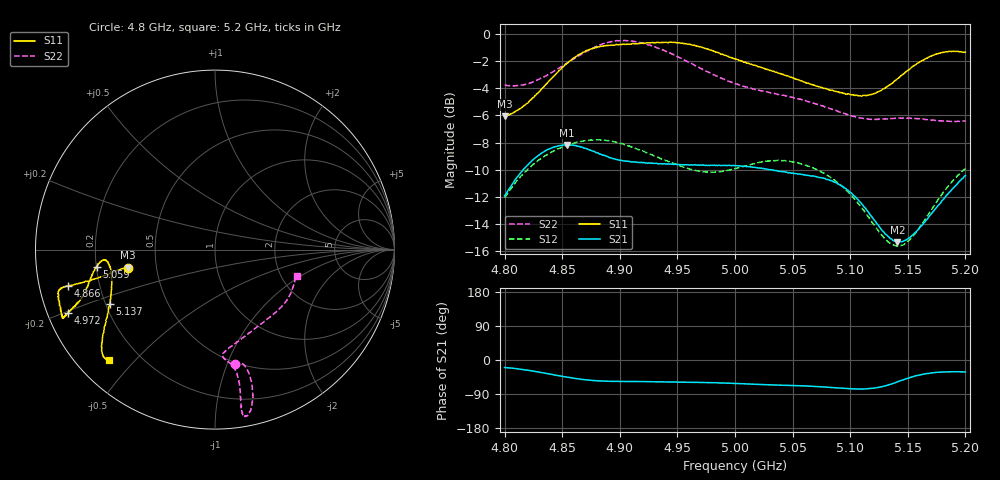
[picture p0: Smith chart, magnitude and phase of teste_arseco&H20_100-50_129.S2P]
! Network Analyzer HP8722D
! Hewlett-Packard
! Data name: Linha & Wilkinson
! Saver's name: Rodrigo Anjos
! Comments: Teste da utilização de aquisição
! continua pelo VNA HP8722D
! Time and date: 6/5/2025 13:38
!  Frequency  S11  S21  S12  S22
# HZ  S  MA R 50
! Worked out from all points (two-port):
!   401 points, 4.8 GHz to 5.2 GHz, reference 50 ohm
!   highest |S21| = -8.18 dB at 4.854 GHz (marker M1); lowest = -15.3 dB at 5.141 GHz (marker M2)
!   |S21| within 3 dB of the highest: 4.806 GHz to 5.092 GHz (286.4 MHz wide, 5.79 % of centre); 5.191355 GHz to end of sweep
!   lowest |S11| = -6.1 dB at 4.8 GHz (marker M3), VSWR 2.98, Z = 16.9 - j4.54 ohm
!   |S11| at or under -10 dB: nowhere
!   |S22| runs from -6.5 to -0.5 dB; largest |S21 - S12| = 0.62
!   S11 on the Smith chart (normalised r, x): 4.8 GHz: 0.34, -0.09; 4.866 GHz: 0.08, -0.12; 4.972 GHz: 0.06, -0.20; 5.059 GHz: 0.20, -0.07; 5.137 GHz: 0.22, -0.23; 5.2 GHz: 0.09, -0.42
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4.8e9  0.4977 -168.3  0.2534 -20.0  0.25 -141.1  0.6487 -80.3
4.827e9  0.5947 -167.2  0.3508 -30.4  0.3371 -144.9  0.6719 -75.4
4.854e9  0.7778 -166.1  0.3901 -45.3  0.3887 -150.0  0.7796 -74.7
4.866e9  0.8455 -166.0  0.3835 -50.7  0.4017 -152.1  0.8362 -75.4
4.867e9  0.8488 -166.1  0.3832 -51.1  0.4023 -152.3  0.8439 -75.5
4.883e9  0.8979 -165.3  0.3608 -55.3  0.4072 -155.0  0.9101 -77.3
4.899e9  0.9113 -163.2  0.3437 -56.5  0.3969 -156.9  0.9423 -79.2
4.934e9  0.9276 -156.6  0.3327 -57.7  0.3502 -155.8  0.8829 -80.6
4.947e9  0.9297 -155.6  0.3308 -58.0  0.3333 -153.5  0.8371 -80.1
4.972e9  0.8895 -156.8  0.3297 -59.2  0.311 -146.4  0.7389 -79.7
5e9  0.8088 -159.2  0.3274 -61.9  0.3194 -137.3  0.6551 -81.3
5.036e9  0.7217 -165.8  0.3139 -66.0  0.342 -134.5  0.6004 -85.8
5.059e9  0.6669 -171.6  0.3037 -68.4  0.331 -136.3  0.5706 -84.4
5.067e9  0.6496 -173.2  0.3002 -69.3  0.3225 -136.9  0.5574 -82.7
5.087e9  0.6139 -174.6  0.2842 -73.4  0.2881 -138.8  0.5233 -74.8
5.103e9  0.5956 -171.5  0.2542 -76.3  0.2489 -138.8  0.4965 -65.1
5.134e9  0.6473 -154.5  0.1779 -65.1  0.1703 -120.5  0.487 -43.2
5.137e9  0.6599 -152.5  0.1737 -62.1  0.1678 -116.7  0.4886 -41.4
5.141e9  0.6832 -150.4  0.1718 -57.5  0.1656 -111.5  0.4888 -39.1
5.154e9  0.7578 -144.7  0.1817 -44.5  0.1796 -95.0  0.4886 -32.3
5.174e9  0.8408 -138.7  0.2275 -33.0  0.2374 -80.4  0.4799 -24.0
5.2e9  0.8547 -133.8  0.3009 -31.6  0.3195 -77.1  0.4787 -17.6
